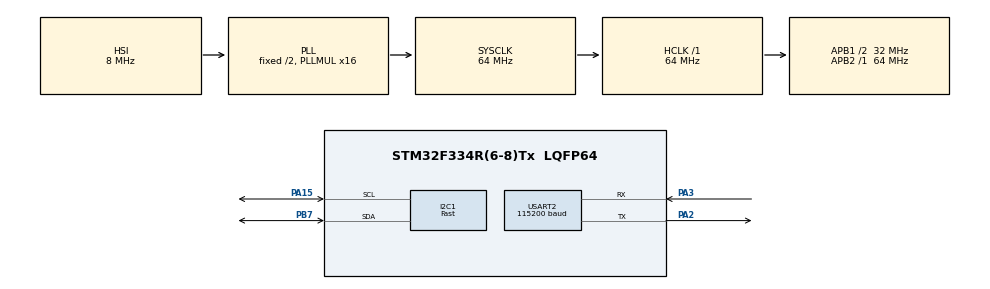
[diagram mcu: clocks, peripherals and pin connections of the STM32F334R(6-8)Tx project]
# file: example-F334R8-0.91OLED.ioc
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I2C1.I2C_Speed_Mode=I2C_Fast
I2C1.Timing=0x0000020B
Mcu.Family=STM32F3
Mcu.Name=STM32F334R(6-8)Tx
Mcu.Package=LQFP64
NVIC.PriorityGroup=NVIC_PRIORITYGROUP_4
PA13.Mode=Serial_Wire
PA13.Signal=SYS_JTMS-SWDIO
PA14.Mode=Serial_Wire
PA14.Signal=SYS_JTCK-SWCLK
PA15.Mode=I2C
PA15.Signal=I2C1_SCL
PA2.Mode=Asynchronous
PA2.Signal=USART2_TX
PA3.Mode=Asynchronous
PA3.Signal=USART2_RX
PB7.Mode=I2C
PB7.Signal=I2C1_SDA
PC14\ /\ OSC32_IN.Mode=LSE-External-Oscillator
PC14\ /\ OSC32_IN.Signal=RCC_OSC32_IN
PC15\ /\ OSC32_OUT.Mode=LSE-External-Oscillator
PC15\ /\ OSC32_OUT.Signal=RCC_OSC32_OUT
PF0\ /\ OSC_IN.Mode=HSE-External-Clock-Source
PF0\ /\ OSC_IN.Signal=RCC_OSC_IN
ProjectManager.HeapSize=0x200
ProjectManager.StackSize=0x400
ProjectManager.TargetToolchain=MDK-ARM V5.27
RCC.AHBFreq_Value=64000000
RCC.APB1CLKDivider=RCC_HCLK_DIV2
RCC.APB1Freq_Value=32000000
RCC.APB1TimFreq_Value=64000000
RCC.APB2Freq_Value=64000000
RCC.APB2TimFreq_Value=64000000
RCC.CortexFreq_Value=64000000
RCC.HCLKFreq_Value=64000000
RCC.HSE_VALUE=8000000
RCC.HSI_VALUE=8000000
RCC.PLLMUL=RCC_PLL_MUL16
RCC.SYSCLKFreq_VALUE=64000000
RCC.SYSCLKSourceVirtual=RCC_SYSCLKSOURCE_PLLCLK
USART2.BaudRate=115200
USART2.VirtualMode-Asynchronous=VM_ASYNC
board=custom

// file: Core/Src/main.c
/* USER CODE BEGIN Header */
/**
  ******************************************************************************
  * @file           : main.c
  * @brief          : Main program body
  ******************************************************************************
  * @attention
  *
  * <h2><center>&copy; Copyright (c) 2021 STMicroelectronics.
  * All rights reserved.</center></h2>
  *
  * This software component is licensed by ST under BSD 3-Clause license,
  * the "License"; You may not use this file except in compliance with the
  * License. You may obtain a copy of the License at:
  *                        opensource.org/licenses/BSD-3-Clause
  *
  ******************************************************************************
  */
/* USER CODE END Header */
#include "main.h"
#include "i2c.h"
#include "usart.h"
#include "gpio.h"

/* USER CODE BEGIN Includes */
#include "oled.h"
#include "oledpic.h"

// pin connect: oled connect to I2c1 SCL->PA15 SDA->PB7

/* USER CODE END Includes */

void SystemClock_Config(void);

int main(void)
{

  /* MCU Configuration--------------------------------------------------------*/

  /* Reset of all peripherals, Initializes the Flash interface and the Systick. */
  HAL_Init();

  /* Configure the system clock */
  SystemClock_Config();

  /* Initialize all configured peripherals */
  MX_GPIO_Init();
  MX_I2C1_Init();
  MX_USART2_UART_Init();
  /* USER CODE BEGIN 2 */
	uint32_t number=1234;
  float numberfu=-12.1;
  char b[6]="hello";
  OLED_Init();

  /* USER CODE END 2 */

  /* Infinite loop */
  while (1)
  {

    /* USER CODE BEGIN 3 */
		OLED_Allfill();
    HAL_Delay(500);

		OLED_Clear();
    OLED_ShowPic(90,0,122,4,BMP1);
    OLED_ShowHzbig(0,0,0);
    OLED_ShowStr(33,0,b,16);
	  HAL_Delay(1000);

    OLED_Clear();

    OLED_ShowFloat(50,0,numberfu,3,16);
    OLED_ShowHanzi(50,2,0);
    OLED_ShowHanzi(34,2,1);
    for(number=500;number<600;number++)
    {
      OLED_ShowNum(80,2,number,4,16);
      HAL_Delay(10);
    }
    OLED_ShowChar(4,0,'F',16);
    OLED_ShowChar(4,2,'M',16);

    HAL_Delay(2000);
  }
  /* USER CODE END 3 */
}

void SystemClock_Config(void)
{
  RCC_OscInitTypeDef RCC_OscInitStruct = {0};
  RCC_ClkInitTypeDef RCC_ClkInitStruct = {0};
  RCC_PeriphCLKInitTypeDef PeriphClkInit = {0};

  /** Initializes the RCC Oscillators according to the specified parameters
  * in the RCC_OscInitTypeDef structure.
  */
  RCC_OscInitStruct.OscillatorType = RCC_OSCILLATORTYPE_HSI;
  RCC_OscInitStruct.HSIState = RCC_HSI_ON;
  RCC_OscInitStruct.HSICalibrationValue = RCC_HSICALIBRATION_DEFAULT;
  RCC_OscInitStruct.PLL.PLLState = RCC_PLL_ON;
  RCC_OscInitStruct.PLL.PLLSource = RCC_PLLSOURCE_HSI;
  RCC_OscInitStruct.PLL.PLLMUL = RCC_PLL_MUL16;
  if (HAL_RCC_OscConfig(&RCC_OscInitStruct) != HAL_OK)
  {
    Error_Handler();
  }
  /** Initializes the CPU, AHB and APB buses clocks
  */
  RCC_ClkInitStruct.ClockType = RCC_CLOCKTYPE_HCLK|RCC_CLOCKTYPE_SYSCLK
                              |RCC_CLOCKTYPE_PCLK1|RCC_CLOCKTYPE_PCLK2;
  RCC_ClkInitStruct.SYSCLKSource = RCC_SYSCLKSOURCE_PLLCLK;
  RCC_ClkInitStruct.AHBCLKDivider = RCC_SYSCLK_DIV1;
  RCC_ClkInitStruct.APB1CLKDivider = RCC_HCLK_DIV2;
  RCC_ClkInitStruct.APB2CLKDivider = RCC_HCLK_DIV1;

  if (HAL_RCC_ClockConfig(&RCC_ClkInitStruct, FLASH_LATENCY_2) != HAL_OK)
  {
    Error_Handler();
  }
  PeriphClkInit.PeriphClockSelection = RCC_PERIPHCLK_I2C1;
  PeriphClkInit.I2c1ClockSelection = RCC_I2C1CLKSOURCE_HSI;
  if (HAL_RCCEx_PeriphCLKConfig(&PeriphClkInit) != HAL_OK)
  {
    Error_Handler();
  }
}

void Error_Handler(void)
{
  __disable_irq();
  while (1)
  {
  }
}

/************************ (C) COPYRIGHT STMicroelectronics *****END OF FILE****/
